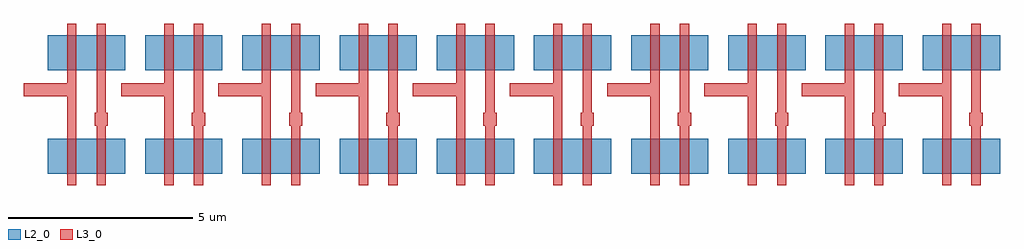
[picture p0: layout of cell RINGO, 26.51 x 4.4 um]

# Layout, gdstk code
import gdstk
lib = gdstk.Library(unit=1e-6, precision=1e-09)
def R(c, l, rs):  # rectangles x0, y0, x1, y1
    for r in rs: c.add(gdstk.rectangle(r[:2], r[2:], *l))
L2_0 = (2, 0)
L3_0 = (3, 0)
L10_0 = (10, 0)
L11_0 = (11, 0)
L12_0 = (12, 0)
L13_0 = (13, 0)
L20_0 = (20, 0)
L21_0 = (21, 0)
L22_0 = (22, 0)
L23_0 = (23, 0)
L30_0 = (30, 0)
L31_0 = (31, 0)
L32_0 = (32, 0)
L33_0 = (33, 0)
L40_0 = (40, 0)
L41_0 = (41, 0)
L42_0 = (42, 0)
L43_0 = (43, 0)
L50_0 = (50, 0)
L51_0 = (51, 0)
L52_0 = (52, 0)
L53_0 = (53, 0)
L60_0 = (60, 0)
L61_0 = (61, 0)
L62_0 = (62, 0)
L63_0 = (63, 0)
L70_0 = (70, 0)
L71_0 = (71, 0)
L72_0 = (72, 0)
L73_0 = (73, 0)
L80_0 = (80, 0)
L81_0 = (81, 0)
L82_0 = (82, 0)
L83_0 = (83, 0)
L90_0 = (90, 0)
L91_0 = (91, 0)
L92_0 = (92, 0)
L93_0 = (93, 0)
L100_0 = (100, 0)
L101_0 = (101, 0)
L102_0 = (102, 0)
L103_0 = (103, 0)

trans = lib.new_cell('TRANS')
R(trans, L2_0, [(-0.65,-0.475,0.65,0.475)])
R(trans, L3_0, [(-0.125,-0.8,0.125,0.8)])
trans.add(gdstk.FlexPath([(-0.65,0.475),(0.65,0.475)], 0, ends="flush", simple_path=True, layer=50, datatype=0))  # L50_0
trans.add(gdstk.FlexPath([(0.65,-0.475),(-0.65,-0.475)], 0, ends="flush", simple_path=True, layer=50, datatype=0))  # L50_0
trans.add(gdstk.FlexPath([(-0.65,-0.475),(-0.65,0.475)], 0, ends="flush", simple_path=True, layer=51, datatype=0))  # L51_0
trans.add(gdstk.FlexPath([(0.65,0.475),(0.65,-0.475)], 0, ends="flush", simple_path=True, layer=51, datatype=0))  # L51_0
trans.add(gdstk.FlexPath([(-0.125,-0.8),(-0.125,0.8)], 0, ends="flush", simple_path=True, layer=52, datatype=0))  # L52_0
trans.add(gdstk.FlexPath([(0.125,0.8),(0.125,-0.8)], 0, ends="flush", simple_path=True, layer=52, datatype=0))  # L52_0
trans.add(gdstk.FlexPath([(-0.125,0.8),(0.125,0.8)], 0, ends="flush", simple_path=True, layer=53, datatype=0))  # L53_0
trans.add(gdstk.FlexPath([(0.125,-0.8),(-0.125,-0.8)], 0, ends="flush", simple_path=True, layer=53, datatype=0))  # L53_0
trans.add(gdstk.FlexPath([(-0.65,0.475),(0.65,0.475)], 0, ends="flush", simple_path=True, layer=60, datatype=0))  # L60_0
trans.add(gdstk.FlexPath([(0.65,-0.475),(-0.65,-0.475)], 0, ends="flush", simple_path=True, layer=60, datatype=0))  # L60_0
trans.add(gdstk.FlexPath([(-0.65,-0.475),(-0.65,0.475)], 0, ends="flush", simple_path=True, layer=61, datatype=0))  # L61_0
trans.add(gdstk.FlexPath([(0.65,0.475),(0.65,-0.475)], 0, ends="flush", simple_path=True, layer=61, datatype=0))  # L61_0
trans.add(gdstk.FlexPath([(-0.125,-0.8),(-0.125,0.8)], 0, ends="flush", simple_path=True, layer=62, datatype=0))  # L62_0
trans.add(gdstk.FlexPath([(0.125,0.8),(0.125,-0.8)], 0, ends="flush", simple_path=True, layer=62, datatype=0))  # L62_0
trans.add(gdstk.FlexPath([(-0.125,0.8),(0.125,0.8)], 0, ends="flush", simple_path=True, layer=63, datatype=0))  # L63_0
trans.add(gdstk.FlexPath([(0.125,-0.8),(-0.125,-0.8)], 0, ends="flush", simple_path=True, layer=63, datatype=0))  # L63_0
trans.add(gdstk.FlexPath([(-0.65,0.475),(0.65,0.475)], 0, ends="flush", simple_path=True, layer=90, datatype=0))  # L90_0
trans.add(gdstk.FlexPath([(0.65,-0.475),(-0.65,-0.475)], 0, ends="flush", simple_path=True, layer=90, datatype=0))  # L90_0
trans.add(gdstk.FlexPath([(-0.65,-0.475),(-0.65,0.475)], 0, ends="flush", simple_path=True, layer=91, datatype=0))  # L91_0
trans.add(gdstk.FlexPath([(0.65,0.475),(0.65,-0.475)], 0, ends="flush", simple_path=True, layer=91, datatype=0))  # L91_0
trans.add(gdstk.FlexPath([(-0.125,-0.8),(-0.125,0.8)], 0, ends="flush", simple_path=True, layer=92, datatype=0))  # L92_0
trans.add(gdstk.FlexPath([(0.125,0.8),(0.125,-0.8)], 0, ends="flush", simple_path=True, layer=92, datatype=0))  # L92_0
trans.add(gdstk.FlexPath([(-0.125,0.8),(0.125,0.8)], 0, ends="flush", simple_path=True, layer=93, datatype=0))  # L93_0
trans.add(gdstk.FlexPath([(0.125,-0.8),(-0.125,-0.8)], 0, ends="flush", simple_path=True, layer=93, datatype=0))  # L93_0
trans.add(gdstk.FlexPath([(-0.65,0.475),(0.65,0.475)], 0, ends="flush", simple_path=True, layer=100, datatype=0))  # L100_0
trans.add(gdstk.FlexPath([(0.65,-0.475),(-0.65,-0.475)], 0, ends="flush", simple_path=True, layer=100, datatype=0))  # L100_0
trans.add(gdstk.FlexPath([(-0.65,-0.475),(-0.65,0.475)], 0, ends="flush", simple_path=True, layer=101, datatype=0))  # L101_0
trans.add(gdstk.FlexPath([(0.65,0.475),(0.65,-0.475)], 0, ends="flush", simple_path=True, layer=101, datatype=0))  # L101_0
trans.add(gdstk.FlexPath([(-0.125,-0.8),(-0.125,0.8)], 0, ends="flush", simple_path=True, layer=102, datatype=0))  # L102_0
trans.add(gdstk.FlexPath([(0.125,0.8),(0.125,-0.8)], 0, ends="flush", simple_path=True, layer=102, datatype=0))  # L102_0
trans.add(gdstk.FlexPath([(-0.125,0.8),(0.125,0.8)], 0, ends="flush", simple_path=True, layer=103, datatype=0))  # L103_0
trans.add(gdstk.FlexPath([(0.125,-0.8),(-0.125,-0.8)], 0, ends="flush", simple_path=True, layer=103, datatype=0))  # L103_0

inv2 = lib.new_cell('INV2')
R(inv2, L3_0, [(-0.525,-0.25,-0.275,2.25), (0.275,-0.25,0.525,2.25), (0.22,0.82,0.58,1.18), (-1.7,1.62,-0.4,1.98)])
inv2.add(gdstk.FlexPath([(1.05,-0.475),(-1.05,-0.475)], 0, ends="flush", simple_path=True, layer=10, datatype=0))  # L10_0
inv2.add(gdstk.FlexPath([(1.05,2.325),(-1.05,2.325)], 0, ends="flush", simple_path=True, layer=10, datatype=0))  # L10_0
inv2.add(gdstk.FlexPath([(-1.05,0.475),(1.05,0.475)], 0, ends="flush", simple_path=True, layer=10, datatype=0))  # L10_0
inv2.add(gdstk.FlexPath([(-1.05,3.275),(1.05,3.275)], 0, ends="flush", simple_path=True, layer=10, datatype=0))  # L10_0
inv2.add(gdstk.FlexPath([(-1.05,2.325),(-1.05,3.275)], 0, ends="flush", simple_path=True, layer=11, datatype=0))  # L11_0
inv2.add(gdstk.FlexPath([(1.05,0.475),(1.05,-0.475)], 0, ends="flush", simple_path=True, layer=11, datatype=0))  # L11_0
inv2.add(gdstk.FlexPath([(1.05,3.275),(1.05,2.325)], 0, ends="flush", simple_path=True, layer=11, datatype=0))  # L11_0
inv2.add(gdstk.FlexPath([(-1.05,-0.475),(-1.05,0.475)], 0, ends="flush", simple_path=True, layer=11, datatype=0))  # L11_0
inv2.add(gdstk.FlexPath([(0.275,1.18),(0.275,3.6)], 0, ends="flush", simple_path=True, layer=12, datatype=0))  # L12_0
inv2.add(gdstk.FlexPath([(-0.525,1.98),(-0.525,3.6)], 0, ends="flush", simple_path=True, layer=12, datatype=0))  # L12_0
inv2.add(gdstk.FlexPath([(-0.525,-0.8),(-0.525,1.62)], 0, ends="flush", simple_path=True, layer=12, datatype=0))  # L12_0
inv2.add(gdstk.FlexPath([(-0.275,3.6),(-0.275,-0.8)], 0, ends="flush", simple_path=True, layer=12, datatype=0))  # L12_0
inv2.add(gdstk.FlexPath([(0.525,0.82),(0.525,-0.8)], 0, ends="flush", simple_path=True, layer=12, datatype=0))  # L12_0
inv2.add(gdstk.FlexPath([(0.525,3.6),(0.525,1.18)], 0, ends="flush", simple_path=True, layer=12, datatype=0))  # L12_0
inv2.add(gdstk.FlexPath([(0.275,-0.8),(0.275,0.82)], 0, ends="flush", simple_path=True, layer=12, datatype=0))  # L12_0
inv2.add(gdstk.FlexPath([(0.525,1.18),(0.58,1.18)], 0, ends="flush", simple_path=True, layer=13, datatype=0))  # L13_0
inv2.add(gdstk.FlexPath([(0.22,0.82),(0.22,1.18)], 0, ends="flush", simple_path=True, layer=13, datatype=0))  # L13_0
inv2.add(gdstk.FlexPath([(0.275,0.82),(0.22,0.82)], 0, ends="flush", simple_path=True, layer=13, datatype=0))  # L13_0
inv2.add(gdstk.FlexPath([(-0.275,-0.8),(-0.525,-0.8)], 0, ends="flush", simple_path=True, layer=13, datatype=0))  # L13_0
inv2.add(gdstk.FlexPath([(-0.525,1.62),(-1.7,1.62)], 0, ends="flush", simple_path=True, layer=13, datatype=0))  # L13_0
inv2.add(gdstk.FlexPath([(0.58,0.82),(0.525,0.82)], 0, ends="flush", simple_path=True, layer=13, datatype=0))  # L13_0
inv2.add(gdstk.FlexPath([(0.525,-0.8),(0.275,-0.8)], 0, ends="flush", simple_path=True, layer=13, datatype=0))  # L13_0
inv2.add(gdstk.FlexPath([(-0.525,3.6),(-0.275,3.6)], 0, ends="flush", simple_path=True, layer=13, datatype=0))  # L13_0
inv2.add(gdstk.FlexPath([(0.275,3.6),(0.525,3.6)], 0, ends="flush", simple_path=True, layer=13, datatype=0))  # L13_0
inv2.add(gdstk.FlexPath([(0.58,1.18),(0.58,0.82)], 0, ends="flush", simple_path=True, layer=13, datatype=0))  # L13_0
inv2.add(gdstk.FlexPath([(0.22,1.18),(0.275,1.18)], 0, ends="flush", simple_path=True, layer=13, datatype=0))  # L13_0
inv2.add(gdstk.FlexPath([(-1.7,1.98),(-0.525,1.98)], 0, ends="flush", simple_path=True, layer=13, datatype=0))  # L13_0
inv2.add(gdstk.FlexPath([(-1.7,1.62),(-1.7,1.98)], 0, ends="flush", simple_path=True, layer=13, datatype=0))  # L13_0
inv2.add(gdstk.FlexPath([(1.05,-0.475),(-1.05,-0.475)], 0, ends="flush", simple_path=True, layer=20, datatype=0))  # L20_0
inv2.add(gdstk.FlexPath([(1.05,2.325),(-1.05,2.325)], 0, ends="flush", simple_path=True, layer=20, datatype=0))  # L20_0
inv2.add(gdstk.FlexPath([(-1.05,0.475),(1.05,0.475)], 0, ends="flush", simple_path=True, layer=20, datatype=0))  # L20_0
inv2.add(gdstk.FlexPath([(-1.05,3.275),(1.05,3.275)], 0, ends="flush", simple_path=True, layer=20, datatype=0))  # L20_0
inv2.add(gdstk.FlexPath([(-1.05,2.325),(-1.05,3.275)], 0, ends="flush", simple_path=True, layer=21, datatype=0))  # L21_0
inv2.add(gdstk.FlexPath([(1.05,0.475),(1.05,-0.475)], 0, ends="flush", simple_path=True, layer=21, datatype=0))  # L21_0
inv2.add(gdstk.FlexPath([(1.05,3.275),(1.05,2.325)], 0, ends="flush", simple_path=True, layer=21, datatype=0))  # L21_0
inv2.add(gdstk.FlexPath([(-1.05,-0.475),(-1.05,0.475)], 0, ends="flush", simple_path=True, layer=21, datatype=0))  # L21_0
inv2.add(gdstk.FlexPath([(0.275,1.18),(0.275,3.6)], 0, ends="flush", simple_path=True, layer=22, datatype=0))  # L22_0
inv2.add(gdstk.FlexPath([(-0.525,1.98),(-0.525,3.6)], 0, ends="flush", simple_path=True, layer=22, datatype=0))  # L22_0
inv2.add(gdstk.FlexPath([(-0.525,-0.8),(-0.525,1.62)], 0, ends="flush", simple_path=True, layer=22, datatype=0))  # L22_0
inv2.add(gdstk.FlexPath([(-0.275,3.6),(-0.275,-0.8)], 0, ends="flush", simple_path=True, layer=22, datatype=0))  # L22_0
inv2.add(gdstk.FlexPath([(0.525,0.82),(0.525,-0.8)], 0, ends="flush", simple_path=True, layer=22, datatype=0))  # L22_0
inv2.add(gdstk.FlexPath([(0.525,3.6),(0.525,1.18)], 0, ends="flush", simple_path=True, layer=22, datatype=0))  # L22_0
inv2.add(gdstk.FlexPath([(0.275,-0.8),(0.275,0.82)], 0, ends="flush", simple_path=True, layer=22, datatype=0))  # L22_0
inv2.add(gdstk.FlexPath([(0.525,1.18),(0.58,1.18)], 0, ends="flush", simple_path=True, layer=23, datatype=0))  # L23_0
inv2.add(gdstk.FlexPath([(0.22,0.82),(0.22,1.18)], 0, ends="flush", simple_path=True, layer=23, datatype=0))  # L23_0
inv2.add(gdstk.FlexPath([(0.275,0.82),(0.22,0.82)], 0, ends="flush", simple_path=True, layer=23, datatype=0))  # L23_0
inv2.add(gdstk.FlexPath([(-0.275,-0.8),(-0.525,-0.8)], 0, ends="flush", simple_path=True, layer=23, datatype=0))  # L23_0
inv2.add(gdstk.FlexPath([(-0.525,1.62),(-1.7,1.62)], 0, ends="flush", simple_path=True, layer=23, datatype=0))  # L23_0
inv2.add(gdstk.FlexPath([(0.58,0.82),(0.525,0.82)], 0, ends="flush", simple_path=True, layer=23, datatype=0))  # L23_0
inv2.add(gdstk.FlexPath([(0.525,-0.8),(0.275,-0.8)], 0, ends="flush", simple_path=True, layer=23, datatype=0))  # L23_0
inv2.add(gdstk.FlexPath([(-0.525,3.6),(-0.275,3.6)], 0, ends="flush", simple_path=True, layer=23, datatype=0))  # L23_0
inv2.add(gdstk.FlexPath([(0.275,3.6),(0.525,3.6)], 0, ends="flush", simple_path=True, layer=23, datatype=0))  # L23_0
inv2.add(gdstk.FlexPath([(0.58,1.18),(0.58,0.82)], 0, ends="flush", simple_path=True, layer=23, datatype=0))  # L23_0
inv2.add(gdstk.FlexPath([(0.22,1.18),(0.275,1.18)], 0, ends="flush", simple_path=True, layer=23, datatype=0))  # L23_0
inv2.add(gdstk.FlexPath([(-1.7,1.98),(-0.525,1.98)], 0, ends="flush", simple_path=True, layer=23, datatype=0))  # L23_0
inv2.add(gdstk.FlexPath([(-1.7,1.62),(-1.7,1.98)], 0, ends="flush", simple_path=True, layer=23, datatype=0))  # L23_0
inv2.add(gdstk.FlexPath([(1.05,-0.475),(-1.05,-0.475)], 0, ends="flush", simple_path=True, layer=30, datatype=0))  # L30_0
inv2.add(gdstk.FlexPath([(1.05,2.325),(-1.05,2.325)], 0, ends="flush", simple_path=True, layer=30, datatype=0))  # L30_0
inv2.add(gdstk.FlexPath([(-1.05,0.475),(1.05,0.475)], 0, ends="flush", simple_path=True, layer=30, datatype=0))  # L30_0
inv2.add(gdstk.FlexPath([(-1.05,3.275),(1.05,3.275)], 0, ends="flush", simple_path=True, layer=30, datatype=0))  # L30_0
inv2.add(gdstk.FlexPath([(-1.05,2.325),(-1.05,3.275)], 0, ends="flush", simple_path=True, layer=31, datatype=0))  # L31_0
inv2.add(gdstk.FlexPath([(1.05,0.475),(1.05,-0.475)], 0, ends="flush", simple_path=True, layer=31, datatype=0))  # L31_0
inv2.add(gdstk.FlexPath([(1.05,3.275),(1.05,2.325)], 0, ends="flush", simple_path=True, layer=31, datatype=0))  # L31_0
inv2.add(gdstk.FlexPath([(-1.05,-0.475),(-1.05,0.475)], 0, ends="flush", simple_path=True, layer=31, datatype=0))  # L31_0
inv2.add(gdstk.FlexPath([(0.275,1.18),(0.275,3.6)], 0, ends="flush", simple_path=True, layer=32, datatype=0))  # L32_0
inv2.add(gdstk.FlexPath([(-0.525,1.98),(-0.525,3.6)], 0, ends="flush", simple_path=True, layer=32, datatype=0))  # L32_0
inv2.add(gdstk.FlexPath([(-0.525,-0.8),(-0.525,1.62)], 0, ends="flush", simple_path=True, layer=32, datatype=0))  # L32_0
inv2.add(gdstk.FlexPath([(-0.275,3.6),(-0.275,-0.8)], 0, ends="flush", simple_path=True, layer=32, datatype=0))  # L32_0
inv2.add(gdstk.FlexPath([(0.525,0.82),(0.525,-0.8)], 0, ends="flush", simple_path=True, layer=32, datatype=0))  # L32_0
inv2.add(gdstk.FlexPath([(0.525,3.6),(0.525,1.18)], 0, ends="flush", simple_path=True, layer=32, datatype=0))  # L32_0
inv2.add(gdstk.FlexPath([(0.275,-0.8),(0.275,0.82)], 0, ends="flush", simple_path=True, layer=32, datatype=0))  # L32_0
inv2.add(gdstk.FlexPath([(0.525,1.18),(0.58,1.18)], 0, ends="flush", simple_path=True, layer=33, datatype=0))  # L33_0
inv2.add(gdstk.FlexPath([(0.22,0.82),(0.22,1.18)], 0, ends="flush", simple_path=True, layer=33, datatype=0))  # L33_0
inv2.add(gdstk.FlexPath([(0.275,0.82),(0.22,0.82)], 0, ends="flush", simple_path=True, layer=33, datatype=0))  # L33_0
inv2.add(gdstk.FlexPath([(-0.275,-0.8),(-0.525,-0.8)], 0, ends="flush", simple_path=True, layer=33, datatype=0))  # L33_0
inv2.add(gdstk.FlexPath([(-0.525,1.62),(-1.7,1.62)], 0, ends="flush", simple_path=True, layer=33, datatype=0))  # L33_0
inv2.add(gdstk.FlexPath([(0.58,0.82),(0.525,0.82)], 0, ends="flush", simple_path=True, layer=33, datatype=0))  # L33_0
inv2.add(gdstk.FlexPath([(0.525,-0.8),(0.275,-0.8)], 0, ends="flush", simple_path=True, layer=33, datatype=0))  # L33_0
inv2.add(gdstk.FlexPath([(-0.525,3.6),(-0.275,3.6)], 0, ends="flush", simple_path=True, layer=33, datatype=0))  # L33_0
inv2.add(gdstk.FlexPath([(0.275,3.6),(0.525,3.6)], 0, ends="flush", simple_path=True, layer=33, datatype=0))  # L33_0
inv2.add(gdstk.FlexPath([(0.58,1.18),(0.58,0.82)], 0, ends="flush", simple_path=True, layer=33, datatype=0))  # L33_0
inv2.add(gdstk.FlexPath([(0.22,1.18),(0.275,1.18)], 0, ends="flush", simple_path=True, layer=33, datatype=0))  # L33_0
inv2.add(gdstk.FlexPath([(-1.7,1.98),(-0.525,1.98)], 0, ends="flush", simple_path=True, layer=33, datatype=0))  # L33_0
inv2.add(gdstk.FlexPath([(-1.7,1.62),(-1.7,1.98)], 0, ends="flush", simple_path=True, layer=33, datatype=0))  # L33_0
inv2.add(gdstk.FlexPath([(1.05,-0.475),(-1.05,-0.475)], 0, ends="flush", simple_path=True, layer=40, datatype=0))  # L40_0
inv2.add(gdstk.FlexPath([(1.05,2.325),(-1.05,2.325)], 0, ends="flush", simple_path=True, layer=40, datatype=0))  # L40_0
inv2.add(gdstk.FlexPath([(-1.05,0.475),(1.05,0.475)], 0, ends="flush", simple_path=True, layer=40, datatype=0))  # L40_0
inv2.add(gdstk.FlexPath([(-1.05,3.275),(1.05,3.275)], 0, ends="flush", simple_path=True, layer=40, datatype=0))  # L40_0
inv2.add(gdstk.FlexPath([(-1.05,2.325),(-1.05,3.275)], 0, ends="flush", simple_path=True, layer=41, datatype=0))  # L41_0
inv2.add(gdstk.FlexPath([(1.05,0.475),(1.05,-0.475)], 0, ends="flush", simple_path=True, layer=41, datatype=0))  # L41_0
inv2.add(gdstk.FlexPath([(1.05,3.275),(1.05,2.325)], 0, ends="flush", simple_path=True, layer=41, datatype=0))  # L41_0
inv2.add(gdstk.FlexPath([(-1.05,-0.475),(-1.05,0.475)], 0, ends="flush", simple_path=True, layer=41, datatype=0))  # L41_0
inv2.add(gdstk.FlexPath([(0.275,1.18),(0.275,3.6)], 0, ends="flush", simple_path=True, layer=42, datatype=0))  # L42_0
inv2.add(gdstk.FlexPath([(-0.525,1.98),(-0.525,3.6)], 0, ends="flush", simple_path=True, layer=42, datatype=0))  # L42_0
inv2.add(gdstk.FlexPath([(-0.525,-0.8),(-0.525,1.62)], 0, ends="flush", simple_path=True, layer=42, datatype=0))  # L42_0
inv2.add(gdstk.FlexPath([(-0.275,3.6),(-0.275,-0.8)], 0, ends="flush", simple_path=True, layer=42, datatype=0))  # L42_0
inv2.add(gdstk.FlexPath([(0.525,0.82),(0.525,-0.8)], 0, ends="flush", simple_path=True, layer=42, datatype=0))  # L42_0
inv2.add(gdstk.FlexPath([(0.525,3.6),(0.525,1.18)], 0, ends="flush", simple_path=True, layer=42, datatype=0))  # L42_0
inv2.add(gdstk.FlexPath([(0.275,-0.8),(0.275,0.82)], 0, ends="flush", simple_path=True, layer=42, datatype=0))  # L42_0
inv2.add(gdstk.FlexPath([(0.525,1.18),(0.58,1.18)], 0, ends="flush", simple_path=True, layer=43, datatype=0))  # L43_0
inv2.add(gdstk.FlexPath([(0.22,0.82),(0.22,1.18)], 0, ends="flush", simple_path=True, layer=43, datatype=0))  # L43_0
inv2.add(gdstk.FlexPath([(0.275,0.82),(0.22,0.82)], 0, ends="flush", simple_path=True, layer=43, datatype=0))  # L43_0
inv2.add(gdstk.FlexPath([(-0.275,-0.8),(-0.525,-0.8)], 0, ends="flush", simple_path=True, layer=43, datatype=0))  # L43_0
inv2.add(gdstk.FlexPath([(-0.525,1.62),(-1.7,1.62)], 0, ends="flush", simple_path=True, layer=43, datatype=0))  # L43_0
inv2.add(gdstk.FlexPath([(0.58,0.82),(0.525,0.82)], 0, ends="flush", simple_path=True, layer=43, datatype=0))  # L43_0
inv2.add(gdstk.FlexPath([(0.525,-0.8),(0.275,-0.8)], 0, ends="flush", simple_path=True, layer=43, datatype=0))  # L43_0
inv2.add(gdstk.FlexPath([(-0.525,3.6),(-0.275,3.6)], 0, ends="flush", simple_path=True, layer=43, datatype=0))  # L43_0
inv2.add(gdstk.FlexPath([(0.275,3.6),(0.525,3.6)], 0, ends="flush", simple_path=True, layer=43, datatype=0))  # L43_0
inv2.add(gdstk.FlexPath([(0.58,1.18),(0.58,0.82)], 0, ends="flush", simple_path=True, layer=43, datatype=0))  # L43_0
inv2.add(gdstk.FlexPath([(0.22,1.18),(0.275,1.18)], 0, ends="flush", simple_path=True, layer=43, datatype=0))  # L43_0
inv2.add(gdstk.FlexPath([(-1.7,1.98),(-0.525,1.98)], 0, ends="flush", simple_path=True, layer=43, datatype=0))  # L43_0
inv2.add(gdstk.FlexPath([(-1.7,1.62),(-1.7,1.98)], 0, ends="flush", simple_path=True, layer=43, datatype=0))  # L43_0
inv2.add(gdstk.FlexPath([(-0.275,2.25),(-0.275,-0.25)], 0, ends="flush", simple_path=True, layer=52, datatype=0))  # L52_0
inv2.add(gdstk.FlexPath([(-0.525,-0.25),(-0.525,2.25)], 0, ends="flush", simple_path=True, layer=52, datatype=0))  # L52_0
inv2.add(gdstk.FlexPath([(0.525,2.25),(0.525,-0.25)], 0, ends="flush", simple_path=True, layer=52, datatype=0))  # L52_0
inv2.add(gdstk.FlexPath([(0.275,-0.25),(0.275,2.25)], 0, ends="flush", simple_path=True, layer=52, datatype=0))  # L52_0
inv2.add(gdstk.FlexPath([(0.275,2.25),(0.525,2.25)], 0, ends="flush", simple_path=True, layer=53, datatype=0))  # L53_0
inv2.add(gdstk.FlexPath([(-0.525,2.25),(-0.275,2.25)], 0, ends="flush", simple_path=True, layer=53, datatype=0))  # L53_0
inv2.add(gdstk.FlexPath([(0.22,0.82),(0.22,1.18)], 0, ends="flush", simple_path=True, layer=53, datatype=0))  # L53_0
inv2.add(gdstk.FlexPath([(0.22,1.18),(0.58,1.18)], 0, ends="flush", simple_path=True, layer=53, datatype=0))  # L53_0
inv2.add(gdstk.FlexPath([(-0.275,-0.25),(-0.525,-0.25)], 0, ends="flush", simple_path=True, layer=53, datatype=0))  # L53_0
inv2.add(gdstk.FlexPath([(-0.4,1.98),(-0.4,1.62)], 0, ends="flush", simple_path=True, layer=53, datatype=0))  # L53_0
inv2.add(gdstk.FlexPath([(-0.4,1.62),(-1.7,1.62)], 0, ends="flush", simple_path=True, layer=53, datatype=0))  # L53_0
inv2.add(gdstk.FlexPath([(0.525,-0.25),(0.275,-0.25)], 0, ends="flush", simple_path=True, layer=53, datatype=0))  # L53_0
inv2.add(gdstk.FlexPath([(-1.7,1.98),(-0.4,1.98)], 0, ends="flush", simple_path=True, layer=53, datatype=0))  # L53_0
inv2.add(gdstk.FlexPath([(-1.7,1.62),(-1.7,1.98)], 0, ends="flush", simple_path=True, layer=53, datatype=0))  # L53_0
inv2.add(gdstk.FlexPath([(0.58,0.82),(0.22,0.82)], 0, ends="flush", simple_path=True, layer=53, datatype=0))  # L53_0
inv2.add(gdstk.FlexPath([(0.58,1.18),(0.58,0.82)], 0, ends="flush", simple_path=True, layer=53, datatype=0))  # L53_0
inv2.add(gdstk.FlexPath([(-0.275,2.25),(-0.275,-0.25)], 0, ends="flush", simple_path=True, layer=62, datatype=0))  # L62_0
inv2.add(gdstk.FlexPath([(-0.525,-0.25),(-0.525,2.25)], 0, ends="flush", simple_path=True, layer=62, datatype=0))  # L62_0
inv2.add(gdstk.FlexPath([(0.525,-0.25),(0.275,-0.25)], 0, ends="flush", simple_path=True, layer=62, datatype=0))  # L62_0
inv2.add(gdstk.FlexPath([(0.525,2.25),(0.525,-0.25)], 0, ends="flush", simple_path=True, layer=62, datatype=0))  # L62_0
inv2.add(gdstk.FlexPath([(-0.275,-0.25),(-0.525,-0.25)], 0, ends="flush", simple_path=True, layer=62, datatype=0))  # L62_0
inv2.add(gdstk.FlexPath([(0.275,-0.25),(0.275,2.25)], 0, ends="flush", simple_path=True, layer=62, datatype=0))  # L62_0
inv2.add(gdstk.FlexPath([(0.275,2.25),(0.525,2.25)], 0, ends="flush", simple_path=True, layer=63, datatype=0))  # L63_0
inv2.add(gdstk.FlexPath([(-0.525,2.25),(-0.275,2.25)], 0, ends="flush", simple_path=True, layer=63, datatype=0))  # L63_0
inv2.add(gdstk.FlexPath([(0.22,0.82),(0.22,1.18)], 0, ends="flush", simple_path=True, layer=63, datatype=0))  # L63_0
inv2.add(gdstk.FlexPath([(0.22,1.18),(0.58,1.18)], 0, ends="flush", simple_path=True, layer=63, datatype=0))  # L63_0
inv2.add(gdstk.FlexPath([(-0.4,1.98),(-0.4,1.62)], 0, ends="flush", simple_path=True, layer=63, datatype=0))  # L63_0
inv2.add(gdstk.FlexPath([(-0.4,1.62),(-1.7,1.62)], 0, ends="flush", simple_path=True, layer=63, datatype=0))  # L63_0
inv2.add(gdstk.FlexPath([(-1.7,1.98),(-0.4,1.98)], 0, ends="flush", simple_path=True, layer=63, datatype=0))  # L63_0
inv2.add(gdstk.FlexPath([(-1.7,1.62),(-1.7,1.98)], 0, ends="flush", simple_path=True, layer=63, datatype=0))  # L63_0
inv2.add(gdstk.FlexPath([(0.58,0.82),(0.22,0.82)], 0, ends="flush", simple_path=True, layer=63, datatype=0))  # L63_0
inv2.add(gdstk.FlexPath([(0.58,1.18),(0.58,0.82)], 0, ends="flush", simple_path=True, layer=63, datatype=0))  # L63_0
inv2.add(gdstk.FlexPath([(1.05,-0.475),(-1.05,-0.475)], 0, ends="flush", simple_path=True, layer=70, datatype=0))  # L70_0
inv2.add(gdstk.FlexPath([(1.05,2.325),(-1.05,2.325)], 0, ends="flush", simple_path=True, layer=70, datatype=0))  # L70_0
inv2.add(gdstk.FlexPath([(-1.05,0.475),(1.05,0.475)], 0, ends="flush", simple_path=True, layer=70, datatype=0))  # L70_0
inv2.add(gdstk.FlexPath([(-1.05,3.275),(1.05,3.275)], 0, ends="flush", simple_path=True, layer=70, datatype=0))  # L70_0
inv2.add(gdstk.FlexPath([(-1.05,2.325),(-1.05,3.275)], 0, ends="flush", simple_path=True, layer=71, datatype=0))  # L71_0
inv2.add(gdstk.FlexPath([(1.05,0.475),(1.05,-0.475)], 0, ends="flush", simple_path=True, layer=71, datatype=0))  # L71_0
inv2.add(gdstk.FlexPath([(1.05,3.275),(1.05,2.325)], 0, ends="flush", simple_path=True, layer=71, datatype=0))  # L71_0
inv2.add(gdstk.FlexPath([(-1.05,-0.475),(-1.05,0.475)], 0, ends="flush", simple_path=True, layer=71, datatype=0))  # L71_0
inv2.add(gdstk.FlexPath([(0.275,1.18),(0.275,3.6)], 0, ends="flush", simple_path=True, layer=72, datatype=0))  # L72_0
inv2.add(gdstk.FlexPath([(-0.525,1.98),(-0.525,3.6)], 0, ends="flush", simple_path=True, layer=72, datatype=0))  # L72_0
inv2.add(gdstk.FlexPath([(-0.525,-0.8),(-0.525,1.62)], 0, ends="flush", simple_path=True, layer=72, datatype=0))  # L72_0
inv2.add(gdstk.FlexPath([(-0.275,3.6),(-0.275,-0.8)], 0, ends="flush", simple_path=True, layer=72, datatype=0))  # L72_0
inv2.add(gdstk.FlexPath([(0.525,0.82),(0.525,-0.8)], 0, ends="flush", simple_path=True, layer=72, datatype=0))  # L72_0
inv2.add(gdstk.FlexPath([(0.525,3.6),(0.525,1.18)], 0, ends="flush", simple_path=True, layer=72, datatype=0))  # L72_0
inv2.add(gdstk.FlexPath([(0.275,-0.8),(0.275,0.82)], 0, ends="flush", simple_path=True, layer=72, datatype=0))  # L72_0
inv2.add(gdstk.FlexPath([(0.525,1.18),(0.58,1.18)], 0, ends="flush", simple_path=True, layer=73, datatype=0))  # L73_0
inv2.add(gdstk.FlexPath([(0.22,0.82),(0.22,1.18)], 0, ends="flush", simple_path=True, layer=73, datatype=0))  # L73_0
inv2.add(gdstk.FlexPath([(0.275,0.82),(0.22,0.82)], 0, ends="flush", simple_path=True, layer=73, datatype=0))  # L73_0
inv2.add(gdstk.FlexPath([(-0.275,-0.8),(-0.525,-0.8)], 0, ends="flush", simple_path=True, layer=73, datatype=0))  # L73_0
inv2.add(gdstk.FlexPath([(-0.525,1.62),(-1.7,1.62)], 0, ends="flush", simple_path=True, layer=73, datatype=0))  # L73_0
inv2.add(gdstk.FlexPath([(0.58,0.82),(0.525,0.82)], 0, ends="flush", simple_path=True, layer=73, datatype=0))  # L73_0
inv2.add(gdstk.FlexPath([(0.525,-0.8),(0.275,-0.8)], 0, ends="flush", simple_path=True, layer=73, datatype=0))  # L73_0
inv2.add(gdstk.FlexPath([(-0.525,3.6),(-0.275,3.6)], 0, ends="flush", simple_path=True, layer=73, datatype=0))  # L73_0
inv2.add(gdstk.FlexPath([(0.275,3.6),(0.525,3.6)], 0, ends="flush", simple_path=True, layer=73, datatype=0))  # L73_0
inv2.add(gdstk.FlexPath([(0.58,1.18),(0.58,0.82)], 0, ends="flush", simple_path=True, layer=73, datatype=0))  # L73_0
inv2.add(gdstk.FlexPath([(0.22,1.18),(0.275,1.18)], 0, ends="flush", simple_path=True, layer=73, datatype=0))  # L73_0
inv2.add(gdstk.FlexPath([(-1.7,1.98),(-0.525,1.98)], 0, ends="flush", simple_path=True, layer=73, datatype=0))  # L73_0
inv2.add(gdstk.FlexPath([(-1.7,1.62),(-1.7,1.98)], 0, ends="flush", simple_path=True, layer=73, datatype=0))  # L73_0
inv2.add(gdstk.FlexPath([(1.05,-0.475),(-1.05,-0.475)], 0, ends="flush", simple_path=True, layer=80, datatype=0))  # L80_0
inv2.add(gdstk.FlexPath([(1.05,2.325),(-1.05,2.325)], 0, ends="flush", simple_path=True, layer=80, datatype=0))  # L80_0
inv2.add(gdstk.FlexPath([(-1.05,0.475),(1.05,0.475)], 0, ends="flush", simple_path=True, layer=80, datatype=0))  # L80_0
inv2.add(gdstk.FlexPath([(-1.05,3.275),(1.05,3.275)], 0, ends="flush", simple_path=True, layer=80, datatype=0))  # L80_0
inv2.add(gdstk.FlexPath([(-1.05,2.325),(-1.05,3.275)], 0, ends="flush", simple_path=True, layer=81, datatype=0))  # L81_0
inv2.add(gdstk.FlexPath([(1.05,0.475),(1.05,-0.475)], 0, ends="flush", simple_path=True, layer=81, datatype=0))  # L81_0
inv2.add(gdstk.FlexPath([(1.05,3.275),(1.05,2.325)], 0, ends="flush", simple_path=True, layer=81, datatype=0))  # L81_0
inv2.add(gdstk.FlexPath([(-1.05,-0.475),(-1.05,0.475)], 0, ends="flush", simple_path=True, layer=81, datatype=0))  # L81_0
inv2.add(gdstk.FlexPath([(0.275,1.18),(0.275,3.6)], 0, ends="flush", simple_path=True, layer=82, datatype=0))  # L82_0
inv2.add(gdstk.FlexPath([(-0.525,1.98),(-0.525,3.6)], 0, ends="flush", simple_path=True, layer=82, datatype=0))  # L82_0
inv2.add(gdstk.FlexPath([(-0.525,-0.8),(-0.525,1.62)], 0, ends="flush", simple_path=True, layer=82, datatype=0))  # L82_0
inv2.add(gdstk.FlexPath([(-0.275,3.6),(-0.275,-0.8)], 0, ends="flush", simple_path=True, layer=82, datatype=0))  # L82_0
inv2.add(gdstk.FlexPath([(0.525,0.82),(0.525,-0.8)], 0, ends="flush", simple_path=True, layer=82, datatype=0))  # L82_0
inv2.add(gdstk.FlexPath([(0.525,3.6),(0.525,1.18)], 0, ends="flush", simple_path=True, layer=82, datatype=0))  # L82_0
inv2.add(gdstk.FlexPath([(0.275,-0.8),(0.275,0.82)], 0, ends="flush", simple_path=True, layer=82, datatype=0))  # L82_0
inv2.add(gdstk.FlexPath([(0.525,1.18),(0.58,1.18)], 0, ends="flush", simple_path=True, layer=83, datatype=0))  # L83_0
inv2.add(gdstk.FlexPath([(0.22,0.82),(0.22,1.18)], 0, ends="flush", simple_path=True, layer=83, datatype=0))  # L83_0
inv2.add(gdstk.FlexPath([(0.275,0.82),(0.22,0.82)], 0, ends="flush", simple_path=True, layer=83, datatype=0))  # L83_0
inv2.add(gdstk.FlexPath([(-0.275,-0.8),(-0.525,-0.8)], 0, ends="flush", simple_path=True, layer=83, datatype=0))  # L83_0
inv2.add(gdstk.FlexPath([(-0.525,1.62),(-1.7,1.62)], 0, ends="flush", simple_path=True, layer=83, datatype=0))  # L83_0
inv2.add(gdstk.FlexPath([(0.58,0.82),(0.525,0.82)], 0, ends="flush", simple_path=True, layer=83, datatype=0))  # L83_0
inv2.add(gdstk.FlexPath([(0.525,-0.8),(0.275,-0.8)], 0, ends="flush", simple_path=True, layer=83, datatype=0))  # L83_0
inv2.add(gdstk.FlexPath([(-0.525,3.6),(-0.275,3.6)], 0, ends="flush", simple_path=True, layer=83, datatype=0))  # L83_0
inv2.add(gdstk.FlexPath([(0.275,3.6),(0.525,3.6)], 0, ends="flush", simple_path=True, layer=83, datatype=0))  # L83_0
inv2.add(gdstk.FlexPath([(0.58,1.18),(0.58,0.82)], 0, ends="flush", simple_path=True, layer=83, datatype=0))  # L83_0
inv2.add(gdstk.FlexPath([(0.22,1.18),(0.275,1.18)], 0, ends="flush", simple_path=True, layer=83, datatype=0))  # L83_0
inv2.add(gdstk.FlexPath([(-1.7,1.98),(-0.525,1.98)], 0, ends="flush", simple_path=True, layer=83, datatype=0))  # L83_0
inv2.add(gdstk.FlexPath([(-1.7,1.62),(-1.7,1.98)], 0, ends="flush", simple_path=True, layer=83, datatype=0))  # L83_0
inv2.add(gdstk.FlexPath([(-0.275,2.25),(-0.275,-0.25)], 0, ends="flush", simple_path=True, layer=92, datatype=0))  # L92_0
inv2.add(gdstk.FlexPath([(-0.525,-0.25),(-0.525,2.25)], 0, ends="flush", simple_path=True, layer=92, datatype=0))  # L92_0
inv2.add(gdstk.FlexPath([(0.525,2.25),(0.525,-0.25)], 0, ends="flush", simple_path=True, layer=92, datatype=0))  # L92_0
inv2.add(gdstk.FlexPath([(0.275,-0.25),(0.275,2.25)], 0, ends="flush", simple_path=True, layer=92, datatype=0))  # L92_0
inv2.add(gdstk.FlexPath([(0.275,2.25),(0.525,2.25)], 0, ends="flush", simple_path=True, layer=93, datatype=0))  # L93_0
inv2.add(gdstk.FlexPath([(-0.525,2.25),(-0.275,2.25)], 0, ends="flush", simple_path=True, layer=93, datatype=0))  # L93_0
inv2.add(gdstk.FlexPath([(0.22,0.82),(0.22,1.18)], 0, ends="flush", simple_path=True, layer=93, datatype=0))  # L93_0
inv2.add(gdstk.FlexPath([(0.22,1.18),(0.58,1.18)], 0, ends="flush", simple_path=True, layer=93, datatype=0))  # L93_0
inv2.add(gdstk.FlexPath([(-0.275,-0.25),(-0.525,-0.25)], 0, ends="flush", simple_path=True, layer=93, datatype=0))  # L93_0
inv2.add(gdstk.FlexPath([(-0.4,1.98),(-0.4,1.62)], 0, ends="flush", simple_path=True, layer=93, datatype=0))  # L93_0
inv2.add(gdstk.FlexPath([(-0.4,1.62),(-1.7,1.62)], 0, ends="flush", simple_path=True, layer=93, datatype=0))  # L93_0
inv2.add(gdstk.FlexPath([(0.525,-0.25),(0.275,-0.25)], 0, ends="flush", simple_path=True, layer=93, datatype=0))  # L93_0
inv2.add(gdstk.FlexPath([(-1.7,1.98),(-0.4,1.98)], 0, ends="flush", simple_path=True, layer=93, datatype=0))  # L93_0
inv2.add(gdstk.FlexPath([(-1.7,1.62),(-1.7,1.98)], 0, ends="flush", simple_path=True, layer=93, datatype=0))  # L93_0
inv2.add(gdstk.FlexPath([(0.58,0.82),(0.22,0.82)], 0, ends="flush", simple_path=True, layer=93, datatype=0))  # L93_0
inv2.add(gdstk.FlexPath([(0.58,1.18),(0.58,0.82)], 0, ends="flush", simple_path=True, layer=93, datatype=0))  # L93_0
inv2.add(gdstk.FlexPath([(-0.275,2.25),(-0.275,-0.25)], 0, ends="flush", simple_path=True, layer=102, datatype=0))  # L102_0
inv2.add(gdstk.FlexPath([(-0.525,-0.25),(-0.525,2.25)], 0, ends="flush", simple_path=True, layer=102, datatype=0))  # L102_0
inv2.add(gdstk.FlexPath([(0.525,-0.25),(0.275,-0.25)], 0, ends="flush", simple_path=True, layer=102, datatype=0))  # L102_0
inv2.add(gdstk.FlexPath([(0.525,2.25),(0.525,-0.25)], 0, ends="flush", simple_path=True, layer=102, datatype=0))  # L102_0
inv2.add(gdstk.FlexPath([(-0.275,-0.25),(-0.525,-0.25)], 0, ends="flush", simple_path=True, layer=102, datatype=0))  # L102_0
inv2.add(gdstk.FlexPath([(0.275,-0.25),(0.275,2.25)], 0, ends="flush", simple_path=True, layer=102, datatype=0))  # L102_0
inv2.add(gdstk.FlexPath([(0.275,2.25),(0.525,2.25)], 0, ends="flush", simple_path=True, layer=103, datatype=0))  # L103_0
inv2.add(gdstk.FlexPath([(-0.525,2.25),(-0.275,2.25)], 0, ends="flush", simple_path=True, layer=103, datatype=0))  # L103_0
inv2.add(gdstk.FlexPath([(0.22,0.82),(0.22,1.18)], 0, ends="flush", simple_path=True, layer=103, datatype=0))  # L103_0
inv2.add(gdstk.FlexPath([(0.22,1.18),(0.58,1.18)], 0, ends="flush", simple_path=True, layer=103, datatype=0))  # L103_0
inv2.add(gdstk.FlexPath([(-0.4,1.98),(-0.4,1.62)], 0, ends="flush", simple_path=True, layer=103, datatype=0))  # L103_0
inv2.add(gdstk.FlexPath([(-0.4,1.62),(-1.7,1.62)], 0, ends="flush", simple_path=True, layer=103, datatype=0))  # L103_0
inv2.add(gdstk.FlexPath([(-1.7,1.98),(-0.4,1.98)], 0, ends="flush", simple_path=True, layer=103, datatype=0))  # L103_0
inv2.add(gdstk.FlexPath([(-1.7,1.62),(-1.7,1.98)], 0, ends="flush", simple_path=True, layer=103, datatype=0))  # L103_0
inv2.add(gdstk.FlexPath([(0.58,0.82),(0.22,0.82)], 0, ends="flush", simple_path=True, layer=103, datatype=0))  # L103_0
inv2.add(gdstk.FlexPath([(0.58,1.18),(0.58,0.82)], 0, ends="flush", simple_path=True, layer=103, datatype=0))  # L103_0
inv2.add(gdstk.Reference(trans, (-0.4,0)))
inv2.add(gdstk.Reference(trans, (-0.4,2.8)))
inv2.add(gdstk.Reference(trans, (0.4,0), x_reflection=True))
inv2.add(gdstk.Reference(trans, (0.4,2.8), x_reflection=True))

ringo = lib.new_cell('RINGO')
ringo.add(gdstk.Reference(inv2, (0,0)))
ringo.add(gdstk.Reference(inv2, (2.64,0)))
ringo.add(gdstk.Reference(inv2, (5.28,0)))
ringo.add(gdstk.Reference(inv2, (7.92,0)))
ringo.add(gdstk.Reference(inv2, (10.56,0)))
ringo.add(gdstk.Reference(inv2, (13.2,0)))
ringo.add(gdstk.Reference(inv2, (15.84,0)))
ringo.add(gdstk.Reference(inv2, (18.48,0)))
ringo.add(gdstk.Reference(inv2, (21.12,0)))
ringo.add(gdstk.Reference(inv2, (23.76,0)))

lib.write_gds('RINGO.gds')
